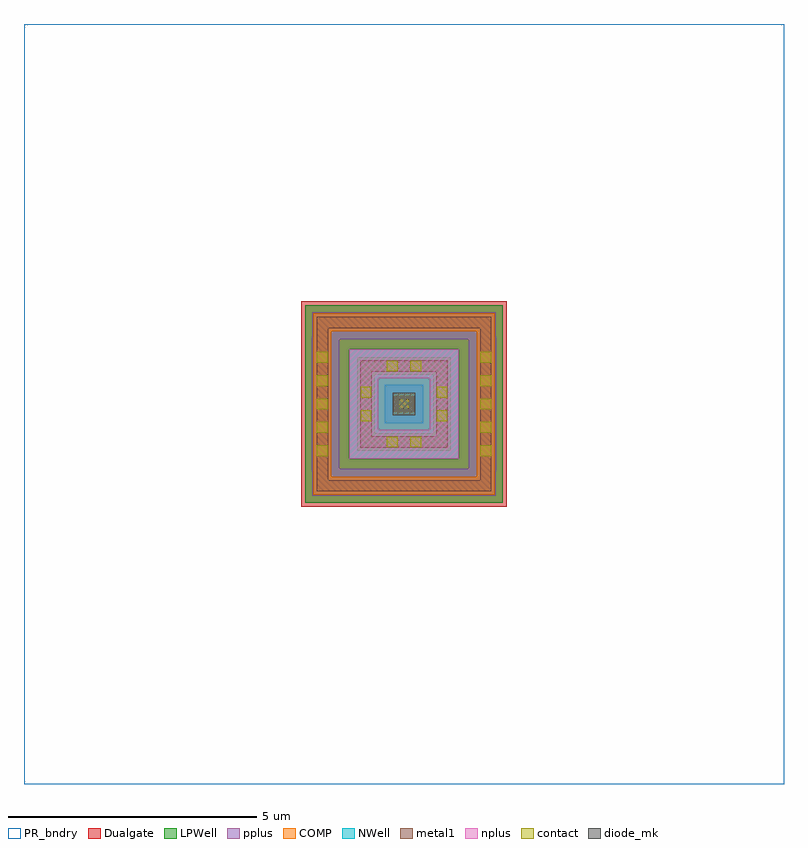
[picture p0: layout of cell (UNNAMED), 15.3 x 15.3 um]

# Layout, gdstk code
import gdstk
lib = gdstk.Library(unit=1e-6, precision=1e-09)
def R(c, l, rs):  # rectangles x0, y0, x1, y1
    for r in rs: c.add(gdstk.rectangle(r[:2], r[2:], *l))
def A(c, l, x, y, w, h, nx, ny, dx, dy):  # array of equal rectangles
    R(c, l, [(x+i*dx, y+j*dy, x+i*dx+w, y+j*dy+h) for i in range(nx) for j in range(ny)])
PR_bndry = (0, 0)
NWell = (21, 0)
COMP = (22, 0)
pplus = (31, 0)
nplus = (32, 0)
contact = (33, 0)
metal1 = (34, 0)
Dualgate = (55, 0)
diode_mk = (115, 5)
LPWell = (204, 0)

c__unnamed_ = lib.new_cell('(UNNAMED)')
R(c__unnamed_, PR_bndry, [(-7.65,-7.65,7.65,7.65)])
R(c__unnamed_, NWell, [(-1.105,-1.105,1.105,1.105)])
R(c__unnamed_, COMP, [(-1.825,-1.825,1.825,-1.465), (-1.825,-1.465,-1.465,1.465), (1.465,-1.465,1.825,1.465), (-0.945,-0.945,0.945,-0.585), (-0.945,-0.585,-0.585,0.585), (0.585,-0.585,0.945,0.585), (-0.225,-0.225,0.225,0.225), (-0.945,0.585,0.945,0.945), (-1.825,1.465,1.825,1.825)])
R(c__unnamed_, pplus, [(-1.845,-1.845,1.845,-1.34), (-1.855,-1.34,1.855,-1.305), (-1.855,-1.305,-1.305,1.305), (1.305,-1.305,1.855,1.305), (-0.385,-0.385,0.385,0.385), (-1.855,1.305,1.855,1.34), (-1.845,1.34,1.845,1.845)])
R(c__unnamed_, nplus, [(-1.105,-1.105,1.105,-0.515), (-1.105,-0.515,-0.515,0.515), (0.515,-0.515,1.105,0.515), (-1.105,0.515,1.105,1.105)])
A(c__unnamed_, contact, -1.755, -0.11, 0.22, 0.22, 3, 1, 1.645, 0)
R(c__unnamed_, contact, [(-1.755,-1.05,-1.535,-0.83), (1.535,-1.05,1.755,-0.83), (-0.345,-0.875,-0.125,-0.655), (0.125,-0.875,0.345,-0.655), (-1.755,-0.58,-1.535,-0.36), (1.535,-0.58,1.755,-0.36), (-0.875,-0.345,-0.655,-0.125), (0.655,-0.345,0.875,-0.125), (-0.875,0.125,-0.655,0.345), (0.655,0.125,0.875,0.345), (-1.755,0.36,-1.535,0.58), (1.535,0.36,1.755,0.58), (-0.345,0.655,-0.125,0.875), (0.125,0.655,0.345,0.875), (-1.755,0.83,-1.535,1.05), (1.535,0.83,1.755,1.05)])
R(c__unnamed_, metal1, [(-1.76,-1.76,1.76,-1.53), (-1.76,-1.53,-1.53,1.53), (1.53,-1.53,1.76,1.53), (-0.88,-0.88,0.88,-0.65), (-0.88,-0.65,-0.65,0.65), (0.65,-0.65,0.88,0.65), (-0.215,-0.16,0.215,0.16), (-0.88,0.65,0.88,0.88), (-1.76,1.53,1.76,1.76)])
R(c__unnamed_, Dualgate, [(-2.065,-2.065,2.065,2.065)])
R(c__unnamed_, diode_mk, [(-0.225,-0.225,0.225,0.225)])
R(c__unnamed_, LPWell, [(-1.985,-1.985,1.985,-1.105), (-1.985,-1.105,-1.105,1.105), (1.105,-1.105,1.985,1.105), (-1.985,1.105,1.985,1.985)])

lib.write_gds('_UNNAMED_.gds')
